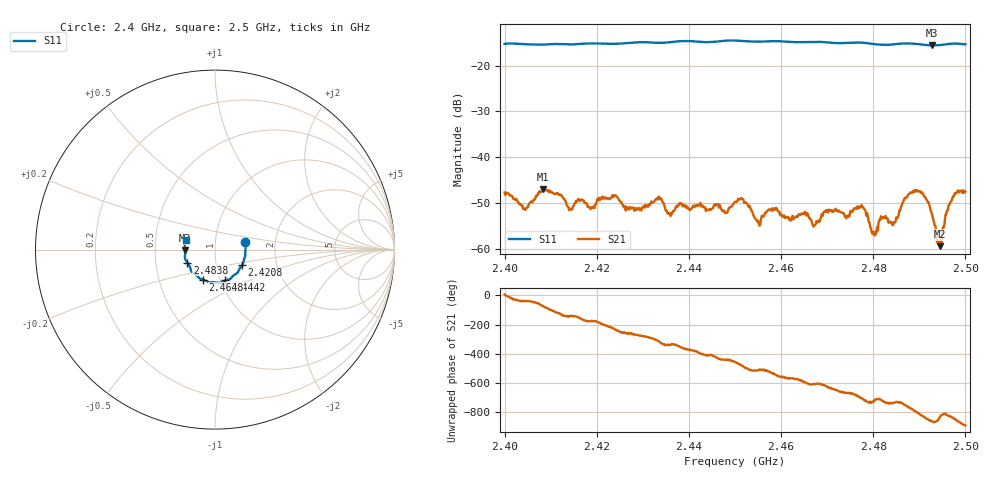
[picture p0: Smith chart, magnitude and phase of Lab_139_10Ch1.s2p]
# Hz S RI R 50
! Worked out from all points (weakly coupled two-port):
!   601 points, 2.4 GHz to 2.5 GHz, reference 50 ohm
!   highest |S21| = -47.03 dB at 2.4083 GHz (marker M1); lowest = -59.4 dB at 2.4945 GHz (marker M2)
!   lowest |S11| = -15.6 dB at 2.4928 GHz (marker M3), VSWR 1.40, Z = 35.8 - j0.351 ohm
!   |S11| at or under -10 dB: start of sweep to end of sweep
!   S12 and S22 are empty: the file has one direction only
!   S11 on the Smith chart (normalised r, x): 2.4 GHz: 1.40, +0.12; 2.4208 GHz: 1.33, -0.24; 2.4442 GHz: 1.05, -0.37; 2.4648 GHz: 0.83, -0.29; 2.4838 GHz: 0.73, -0.11; 2.5 GHz: 0.72, +0.08
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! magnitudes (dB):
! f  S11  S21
! 2.4 GHz  -15.3  -47.7
! 2.4045 GHz  -15.4  -51.5
! 2.4083 GHz  -15.4  -47.0
! 2.4142 GHz  -15.4  -51.3
! 2.4167 GHz  -15.2  -49.2
! 2.4208 GHz  -15.2  -49.2
! 2.4333 GHz  -15.0  -48.8
! 2.4358 GHz  -14.9  -52.3
! 2.4442 GHz  -14.9  -51.6
! 2.45 GHz  -14.5  -49.7
! 2.455 GHz  -14.8  -53.9
! 2.4648 GHz  -14.9  -52.4
! 2.4667 GHz  -14.8  -54.1
! 2.4773 GHz  -15.0  -50.6
! 2.4802 GHz  -15.3  -56.3
! 2.4833 GHz  -15.5  -54.3
! 2.4838 GHz  -15.4  -54.1
! 2.4892 GHz  -15.2  -47.2
! 2.4928 GHz  -15.6  -52.9
! 2.4945 GHz  -15.5  -59.4
! 2.4968 GHz  -15.2  -49.7
! 2.5 GHz  -15.4  -47.5
